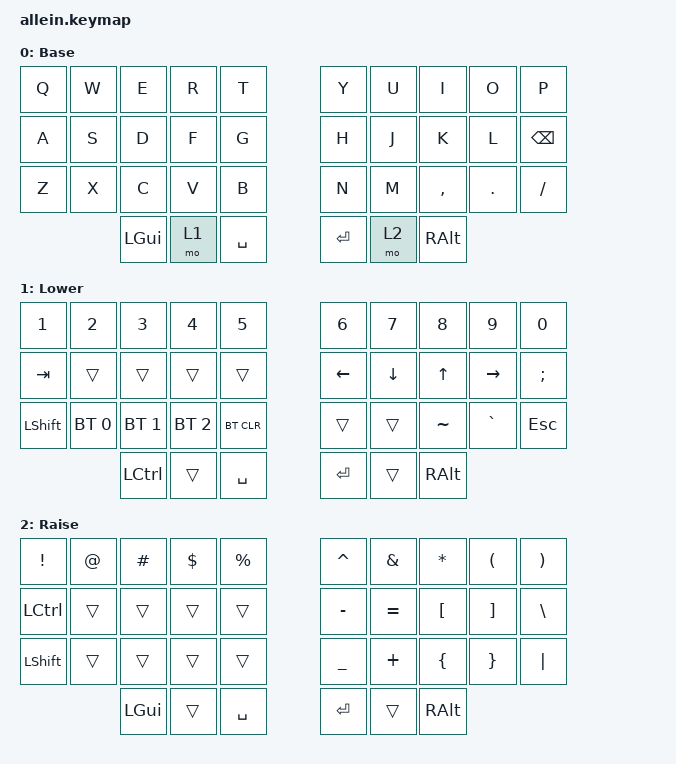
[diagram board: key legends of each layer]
/*
 * Copyright (c) 2020 The ZMK Contributors
 *
 * SPDX-License-Identifier: MIT
 */

 #include <behaviors.dtsi>
 #include <dt-bindings/zmk/keys.h>
 #include <dt-bindings/zmk/bt.h>
#define BASE 0
#define LOWER 1
#define RAISE 2
 / {
         keymap {
                 compatible = "zmk,keymap";
 
                 default_layer {
                        display-name = "Base";
 // -----------------------------------------------------------------------------------------
 // |  TAB |  Q  |  W  |  E  |  R  |  T  |   |  Y  |  U   |  I  |  O  |  P  | BKSP |
 // | CTRL |  A  |  S  |  D  |  F  |  G  |   |  H  |  J   |  K  |  L  |  ;  |  '   |
 // | SHFT |  Z  |  X  |  C  |  V  |  B  |   |  N  |  M   |  ,  |  .  |  /  | ESC  |
 //                    | GUI | LWR | SPC |   | ENT | RSE  | ALT |
                         bindings = <
                         // ╭────────────────────────┬────────────────────────┬────────────────────────┬────────────────────────┬────────────────────────╮    ╭────────────────────────┬────────────────────────┬────────────────────────┬───────────────────────┬────────────────────────╮
                                &kp Q                   &kp W                   &kp E                    &kp R                    &kp T                         &kp Y                    &kp U                    &kp I                    &kp O                   &kp P   
                         // ├────────────────────────┼────────────────────────┼────────────────────────┼────────────────────────┼────────────────────────┤    ├────────────────────────┼────────────────────────┼────────────────────────┼───────────────────────┼────────────────────────┤
                                &kp A                   &kp S                   &kp D                    &kp F                    &kp G                         &kp H                    &kp J                    &kp K                    &kp L                   &kp BSPC
                         // ├────────────────────────┼────────────────────────┼────────────────────────┼────────────────────────┼────────────────────────┤    ├────────────────────────┼────────────────────────┼────────────────────────┼───────────────────────┼────────────────────────┤
                                &kp Z                   &kp X                   &kp C                    &kp V                    &kp B                         &kp N                    &kp M                    &kp COMMA                &kp DOT                 &kp FSLH
                         // ├────────────────────────┼────────────────────────┼────────────────────────┼────────────────────────┼────────────────────────┤    ├────────────────────────┼────────────────────────┼────────────────────────┼───────────────────────┼────────────────────────┤
                                                                                &kp LGUI                 &mo 1                    &kp SPACE                     &kp RET                  &mo 2                    &kp RALT
                         //                                                   ╰────────────────────────┴────────────────────────┴────────────────────────╯    ╰────────────────────────┴────────────────────────┴────────────────────────╯
                         >;
                 };
                 lower_layer {
                        display-name = "Lower";
 // -----------------------------------------------------------------------------------------
 // |  TAB |  1  |  2  |  3  |  4  |  5  |   |  6  |  7  |  8  |  9  |  0  | BKSP |
 // | BTCLR| BT1 | BT2 | BT3 | BT4 | BT5 |   | LFT | DWN |  UP | RGT |     |      |
 // | SHFT |     |     |     |     |     |   |     |     |     |     |     |      |
 //                    | GUI |     | SPC |   | ENT |     | ALT |
                         bindings = <
                         // ╭────────────────────────┬────────────────────────┬────────────────────────┬────────────────────────┬────────────────────────╮    ╭────────────────────────┬────────────────────────┬────────────────────────┬───────────────────────┬────────────────────────╮
                                &kp N1                  &kp N2                  &kp N3                   &kp N4                   &kp N5                        &kp N6                   &kp N7                   &kp N8                   &kp N9                  &kp N0 
                         // ├────────────────────────┼────────────────────────┼────────────────────────┼────────────────────────┼────────────────────────┤    ├────────────────────────┼────────────────────────┼────────────────────────┼───────────────────────┼────────────────────────┤
                                &kp TAB                 &trans                  &trans                   &trans                   &trans                        &kp LEFT                 &kp DOWN                 &kp UP                   &kp RIGHT               &kp SEMI
                         // ├────────────────────────┼────────────────────────┼────────────────────────┼────────────────────────┼────────────────────────┤    ├────────────────────────┼────────────────────────┼────────────────────────┼───────────────────────┼────────────────────────┤
                                &kp LSHFT               &bt BT_SEL 0            &bt BT_SEL 1             &bt BT_SEL 2             &bt BT_CLR                    &trans                   &trans                   &kp TILDE                &kp GRAVE               &kp ESC
                         // ├────────────────────────┼────────────────────────┼────────────────────────┼────────────────────────┼────────────────────────┤    ├────────────────────────┼────────────────────────┼────────────────────────┼───────────────────────┼────────────────────────┤
                                                                                &kp LCTRL                &trans                   &kp SPACE                     &kp RET                  &trans                   &kp RALT
                         //                                                   ╰────────────────────────┴────────────────────────┴────────────────────────╯    ╰────────────────────────┴────────────────────────┴────────────────────────╯
                         >;
                 };
 
                 raise_layer {
                        display-name = "Raise";
 // -----------------------------------------------------------------------------------------
 // |  TAB |  !  |  @  |  #  |  $  |  %  |   |  ^  |  &  |  *  |  (  |  )  | BKSP |
 // | CTRL |     |     |     |     |     |   |  -  |  =  |  [  |  ]  |  \  |  `   |
 // | SHFT |     |     |     |     |     |   |  _  |  +  |  {  |  }  | "|" |  ~   |
 //                    | GUI |     | SPC |   | ENT |     | ALT |
                         bindings = <
                         // ╭────────────────────────┬────────────────────────┬────────────────────────┬────────────────────────┬────────────────────────╮    ╭────────────────────────┬────────────────────────┬────────────────────────┬───────────────────────┬────────────────────────╮
                                &kp EXCL                &kp AT                  &kp HASH                 &kp DLLR                 &kp PRCNT                     &kp CARET                &kp AMPS                 &kp ASTRK                &kp LPAR                &kp RPAR 
                         // ├────────────────────────┼────────────────────────┼────────────────────────┼────────────────────────┼────────────────────────┤    ├────────────────────────┼────────────────────────┼────────────────────────┼───────────────────────┼────────────────────────┤
                                &kp LCTRL               &trans                  &trans                   &trans                   &trans                        &kp MINUS                &kp EQUAL                &kp LBKT                 &kp RBKT                &kp BSLH
                         // ├────────────────────────┼────────────────────────┼────────────────────────┼────────────────────────┼────────────────────────┤    ├────────────────────────┼────────────────────────┼────────────────────────┼───────────────────────┼────────────────────────┤
                                &kp LSHFT               &trans                  &trans                   &trans                   &trans                        &kp UNDER                &kp PLUS                 &kp LBRC                 &kp RBRC                &kp PIPE 
                         // ├────────────────────────┼────────────────────────┼────────────────────────┼────────────────────────┼────────────────────────┤    ├────────────────────────┼────────────────────────┼────────────────────────┼───────────────────────┼────────────────────────┤
                                                                                &kp LGUI                 &trans                   &kp SPACE                     &kp RET                  &trans                   &kp RALT
                         //                                                   ╰────────────────────────┴────────────────────────┴────────────────────────╯    ╰────────────────────────┴────────────────────────┴────────────────────────╯
                      >;
                 };
         };
 };
 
